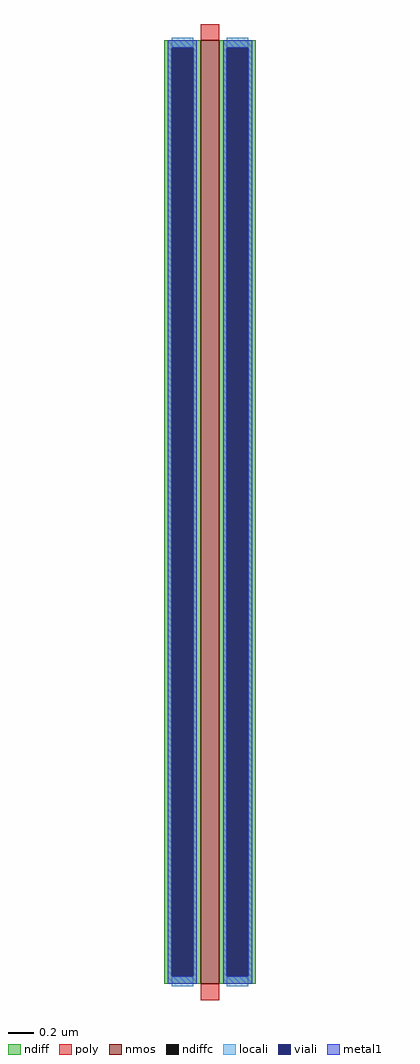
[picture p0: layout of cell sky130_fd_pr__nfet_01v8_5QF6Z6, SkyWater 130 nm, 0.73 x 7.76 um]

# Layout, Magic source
magic
tech sky130A
magscale 1 2
<< nmos >>
rect -15 -750 15 750
<< ndiff >>
rect -73 738 -15 750
rect -73 -738 -61 738
rect -27 -738 -15 738
rect -73 -750 -15 -738
rect 15 738 73 750
rect 15 -738 27 738
rect 61 -738 73 738
rect 15 -750 73 -738
<< ndiffc >>
rect -61 -738 -27 738
rect 27 -738 61 738
<< poly >>
rect -15 750 15 776
rect -15 -776 15 -750
<< locali >>
rect -61 738 -27 754
rect -61 -754 -27 -738
rect 27 738 61 754
rect 27 -754 61 -738
<< viali >>
rect -61 -738 -27 738
rect 27 -738 61 738
<< metal1 >>
rect -67 738 -21 750
rect -67 -738 -61 738
rect -27 -738 -21 738
rect -67 -750 -21 -738
rect 21 738 67 750
rect 21 -738 27 738
rect 61 -738 67 738
rect 21 -750 67 -738
<< properties >>
string gencell sky130_fd_pr__nfet_01v8
string library sky130
string parameters w 7.5 l 0.15 m 1 nf 1 diffcov 100 polycov 100 guard 0 glc 0 grc 0 gtc 0 gbc 0 tbcov 100 rlcov 100 topc 0 botc 0 poverlap 0 doverlap 0 lmin 0.15 wmin 0.42 compatible {sky130_fd_pr__nfet_01v8 sky130_fd_pr__nfet_01v8_lvt  sky130_fd_bs_flash__special_sonosfet_star  sky130_fd_pr__nfet_g5v0d10v5 sky130_fd_pr__nfet_05v0_nvt  sky130_fd_pr__nfet_03v3_nvt} full_metal 0 viasrc 100 viadrn 100 viagate 100 viagb 0 viagr 0 viagl 0 viagt 0
<< end >>
